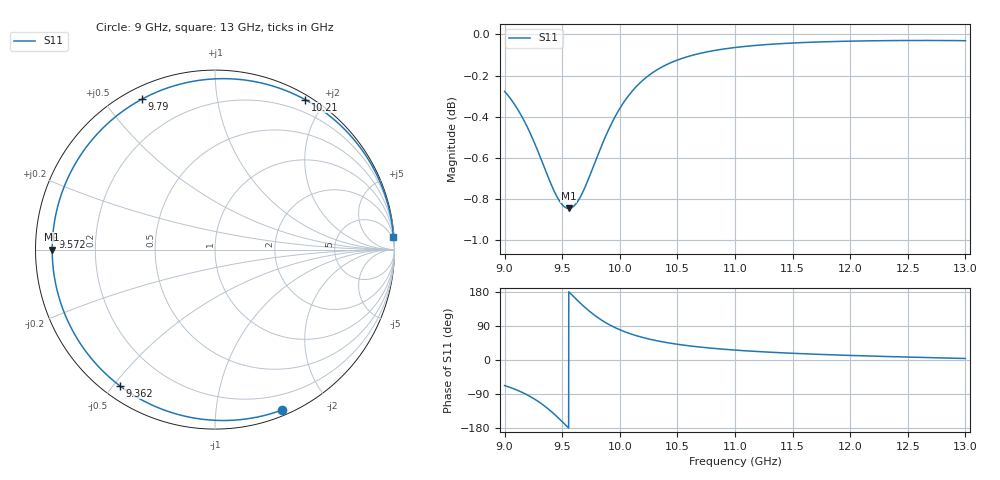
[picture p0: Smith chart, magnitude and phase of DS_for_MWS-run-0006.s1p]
! TOUCHSTONE file generated by CST DESIGN STUDIO
! Date and time: Tue Feb  4 18:20:19 2025
! Project name: C:\Work\MatlabApps\UnitCellOptimizationMatlab\CST\unitcell.cst
! Tree item: Tasks\Sweep1\SPara1\S-Parameters
! Header version: 2024
! Port assignment regex: !\s*Touchstone port\s*([0-9]+)\s*=\s*(CST MWS port|CST DES external port|CST DES block port)\s*(.+)\s* \(\"(.*)\"\)(\s*mode\s*([0-9]+))?.*
! Touchstone port assignment:
! Touchstone port 1 = CST DES external port 1 ("")
# GHz S MA R 50
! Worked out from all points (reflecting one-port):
!   4001 points, 9 GHz to 13 GHz, reference 50 ohm
!   lowest |S11| = -0.8 dB at 9.557 GHz (marker M1), VSWR 20.55, Z = 2.43 + j0.00872 ohm
!   phase of S11 starts at -67 deg and turns -289 deg over the sweep
!   S11 on the Smith chart (normalised r, x): 9 GHz: 0.05, -1.50; 9.362 GHz: 0.05, -0.52; 9.572 GHz: 0.05, +0.04; 9.79 GHz: 0.05, +0.62; 10.21 GHz: 0.05, +1.77; 13 GHz: 1, +29
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9  0.9686 -67.5
9.039  0.9657 -71.4
9.104  0.9599 -79.0
9.216  0.947 -95.3
9.293  0.9361 -109.7
9.362  0.9256 -125.0
9.429  0.9162 -142.3
9.5  0.9091 -162.7
9.557  0.9072 180.0
9.572  0.9073 175.4
9.627  0.9101 158.8
9.688  0.9167 141.4
9.739  0.9239 128.1
9.79  0.9317 116.0
9.835  0.9386 106.6
9.884  0.9456 97.4
9.938  0.9525 88.5
10  0.9594 79.8
10.098  0.968 68.5
10.205  0.975 58.9
10.341  0.9811 49.6
10.5  0.9858 41.5
10.721  0.9898 33.4
11  0.9927 26.1
11.5  0.9952 17.7
12  0.9962 12.1
12.5  0.9966 7.7
13  0.9965 3.9
